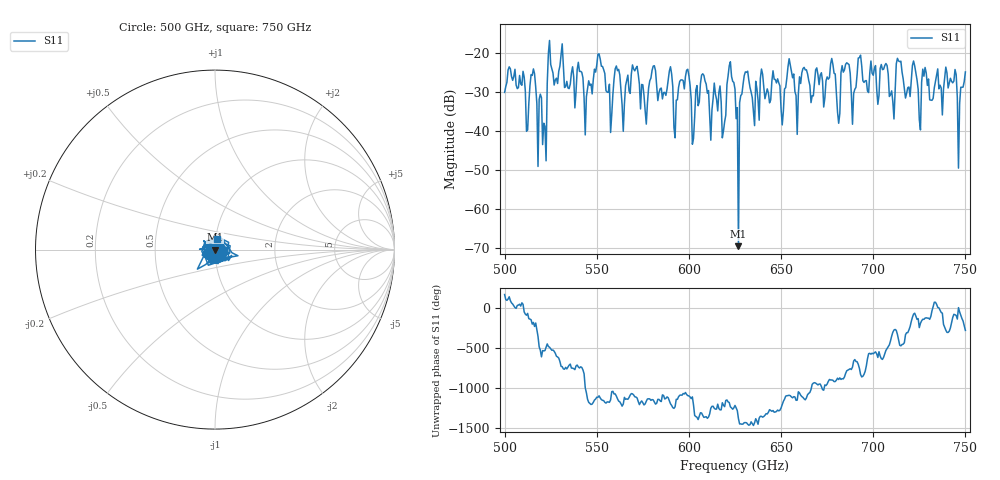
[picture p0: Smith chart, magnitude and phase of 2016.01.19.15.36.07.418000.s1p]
!Created with skrf (http://scikit-rf.org).
# GHz S RI R 50.0
!freq ReS11 ImS11
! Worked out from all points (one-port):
!   401 points, 500 GHz to 750 GHz, reference 50 ohm
!   lowest |S11| = -69.6 dB at 626.9 GHz (marker M1), VSWR 1.00, Z = 50 + j0.0273 ohm
!   |S11| at or under -10 dB: start of sweep to end of sweep
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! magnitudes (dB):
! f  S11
! 500 GHz  -30.0
! 512.5 GHz  -39.7
! 515.6 GHz  -24.0
! 521.2 GHz  -38.0
! 524.4 GHz  -16.7
! 531.2 GHz  -17.6
! 544.4 GHz  -31.1
! 551.2 GHz  -20.2
! 556.9 GHz  -27.9
! 562.5 GHz  -25.6
! 593.8 GHz  -31.9
! 599.4 GHz  -24.1
! 602.5 GHz  -41.9
! 607.5 GHz  -25.3
! 618.8 GHz  -39.9
! 625 GHz  -29.2
! 626.9 GHz  -69.6
! 630.6 GHz  -24.8
! 651.2 GHz  -34.8
! 656.2 GHz  -26.3
! 687.5 GHz  -25.1
! 706.2 GHz  -23.2
! 710 GHz  -29.6
! 713.8 GHz  -22.0
! 718.8 GHz  -28.8
! 743.8 GHz  -27.1
! 746.9 GHz  -32.9
! 750 GHz  -24.8
